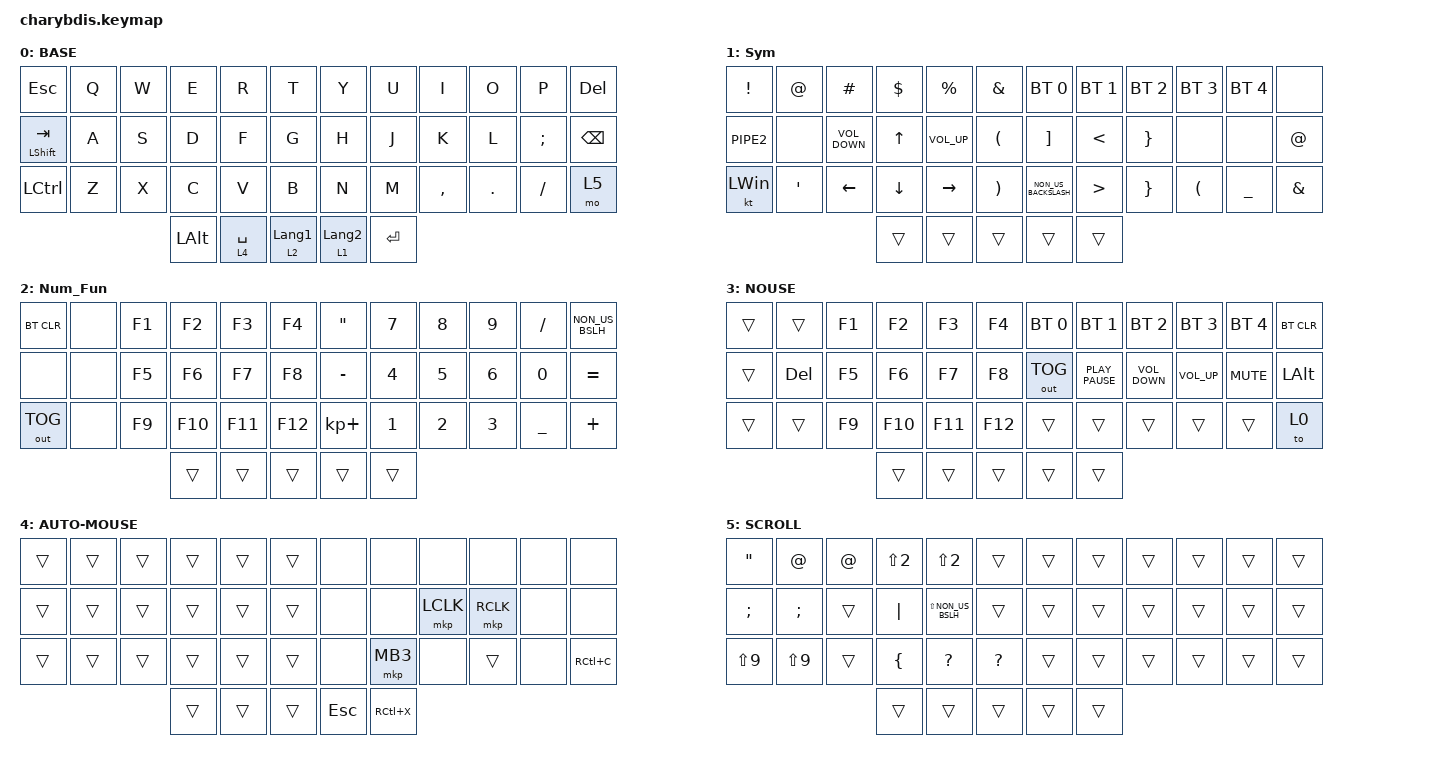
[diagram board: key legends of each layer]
#include <behaviors/mouse_keys.dtsi>
#include <dt-bindings/zmk/mouse.h>
#include <behaviors.dtsi>
#include <dt-bindings/zmk/bt.h>
#include <dt-bindings/zmk/keys.h>
#include <dt-bindings/zmk/outputs.h>
#include <dt-bindings/zmk/pointing.h>

#define U_TAPPING_TERM 200

/ {
    chosen { zmk,matrix_transform = &default_transform; };
};

/ {
    combos { compatible = "zmk,combos"; };

    behaviors {
        u_mt: u_mt {
            compatible = "zmk,behavior-hold-tap";
            label = "u_mt";
            #binding-cells = <2>;
            tapping_term_ms = <U_TAPPING_TERM>;
            flavor = "tap-preferred";
            bindings = <&kp>, <&kp>;
        };

        u_lt: u_lt {
            compatible = "zmk,behavior-hold-tap";
            label = "u_lt";
            #binding-cells = <2>;
            tapping_term_ms = <U_TAPPING_TERM>;
            flavor = "tap-preferred";
            bindings = <&mo>, <&kp>;
        };

        Shift_Enter: Shift_Enter {
            compatible = "zmk,behavior-hold-tap";
            label = "SHIFT_ENTER";
            bindings = <&kp>, <&kp>;

            #binding-cells = <2>;
            hold-trigger-key-positions = <40>;
            tapping-term-ms = <100>;
        };
    };

    keymap {
        compatible = "zmk,keymap";

        BASE {
            bindings = <
&kp ESC               &kp Q  &kp W  &kp E         &kp R        &kp T               &kp Y             &kp U      &kp I      &kp O    &kp P     &kp DELETE
&u_mt LEFT_SHIFT TAB  &kp A  &kp S  &kp D         &kp F        &kp G               &kp H             &kp J      &kp K      &kp L    &kp SEMI  &kp BACKSPACE
&kp LEFT_CONTROL      &kp Z  &kp X  &kp C         &kp V        &kp B               &kp N             &kp M      &kp COMMA  &kp DOT  &kp FSLH  &mo 5
                                    &kp LEFT_ALT  &lt 4 SPACE  &lt 2 LANGUAGE_1    &lt 1 LANGUAGE_2  &kp ENTER
            >;
        };

        Sym {
            bindings = <
&kp EXCLAMATION  &kp AT    &kp HASH           &kp DOLLAR    &kp PERCENT   &kp AMPS    &bt BT_SEL 0          &bt BT_SEL 1      &bt BT_SEL 2  &bt BT_SEL 3  &bt BT_SEL 4  &none
&kp PIPE2        &none     &kp C_VOLUME_DOWN  &kp UP_ARROW  &kp C_VOL_UP  &kp LPAR    &kp RBKT              &kp LESS_THAN     &kp RBRC      &none         &none         &kp AT
&kt LEFT_WIN     &kp APOS  &kp LEFT           &kp DOWN      &kp RIGHT     &kp RPAR    &kp NON_US_BACKSLASH  &kp GREATER_THAN  &kp RBRC      &kp LPAR      &kp UNDER     &kp AMPS
                                              &trans        &trans        &trans      &trans                &trans
            >;
        };

        Num_Fun {
            bindings = <
&bt BT_CLR    &none  &kp F1  &kp F2   &kp F3   &kp F4     &kp DQT      &kp N7        &kp N8        &kp N9        &kp SLASH  &kp NON_US_BSLH
&none         &none  &kp F5  &kp F6   &kp F7   &kp F8     &kp MINUS    &kp NUMBER_4  &kp N5        &kp NUMBER_6  &kp N0     &kp EQUAL
&out OUT_TOG  &none  &kp F9  &kp F10  &kp F11  &kp F12    &kp KP_PLUS  &kp NUMBER_1  &kp NUMBER_2  &kp NUMBER_3  &kp UNDER  &kp PLUS
                             &trans   &trans   &trans     &trans       &trans
            >;
        };

        NOUSE {
            bindings = <
&trans  &trans   &kp F1  &kp F2   &kp F3   &kp F4     &bt BT_SEL 0  &bt BT_SEL 1      &bt BT_SEL 2       &bt BT_SEL 3     &bt BT_SEL 4  &bt BT_CLR
&trans  &kp DEL  &kp F5  &kp F6   &kp F7   &kp F8     &out OUT_TOG  &kp K_PLAY_PAUSE  &kp C_VOLUME_DOWN  &kp C_VOLUME_UP  &kp C_MUTE    &kp LALT
&trans  &trans   &kp F9  &kp F10  &kp F11  &kp F12    &trans        &trans            &trans             &trans           &trans        &to 0
                         &trans   &trans   &trans     &trans        &trans
            >;
        };

        AUTO-MOUSE {
            bindings = <
&trans  &trans  &trans  &trans  &trans  &trans    &none       &none      &none      &none      &none  &none
&trans  &trans  &trans  &trans  &trans  &trans    &none       &none      &mkp LCLK  &mkp RCLK  &none  &none
&trans  &trans  &trans  &trans  &trans  &trans    &none       &mkp MB3   &none      &trans     &none  &kp RC(C)
                        &trans  &trans  &trans    &kp ESCAPE  &kp RC(X)
            >;
        };

        SCROLL {
            bindings = <
&kp DOUBLE_QUOTES  &kp AT            &kp AT_SIGN  &kp LS(NUMBER_2)  &kp LS(N2)           &trans       &trans  &trans  &trans  &trans  &trans  &trans
&kp SEMI           &kp SEMICOLON     &trans       &kp PIPE          &kp LS(NON_US_BSLH)  &trans       &trans  &trans  &trans  &trans  &trans  &trans
&kp LS(N9)         &kp LS(NUMBER_9)  &trans       &kp LEFT_BRACE    &kp QUESTION         &kp QMARK    &trans  &trans  &trans  &trans  &trans  &trans
                                                  &trans            &trans               &trans       &trans  &trans
            >;
        };
    };
};
